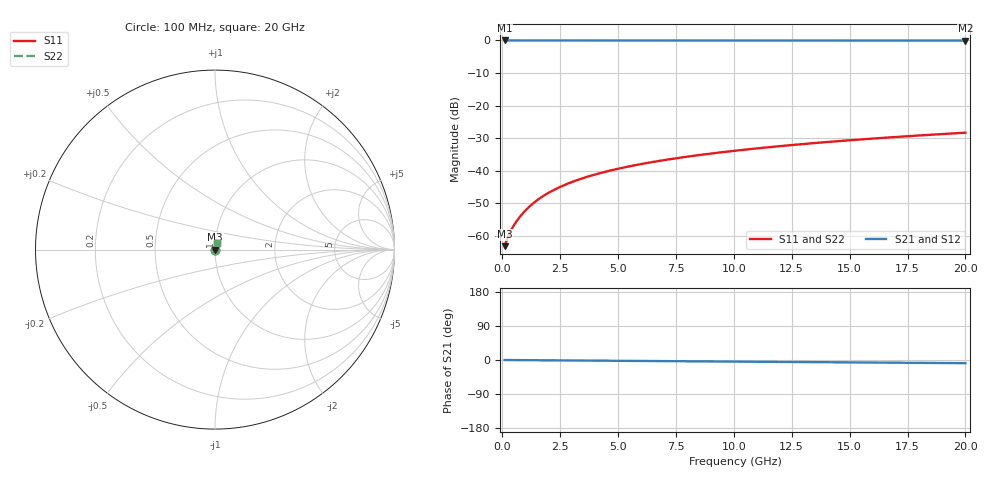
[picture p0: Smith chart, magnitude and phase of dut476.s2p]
! Touchstone file exported from HFSS 2026.1.0
!  File:  C:/ffzhzh/LocalFiles/Ansys_Project_Files/temp_train_BSMRDL_476_1783013753_53980.aedt
!  Generated:  01:37:09 AM Jul  3, 2026
!  Design:  BSMRDL
!  Project:  temp_train_BSMRDL_476_1783013753_53980
! Variables:
!  h_bsmrdl = 5.12um
!  h_ox = 20um
!  h_rdl = 5um
!  h_sub = 80um
!  h_tmrdl = 5um
!  h_tsv = 80um
!  h_via = 3um
!  l_bsmrdl = 130.21um
!  l_sub = 530.21um
!  l_tmrdl = 200um
!  m_sub = 200um
!  pitch = 27.78um
!  r_tsv = 6um
!  s_tmrdl = 10um
!  w_bsmrdl = 18.98um
!  w_sub = 500um
!  w_tmrdl = 12um
!  x_tsv_center1 = 206um
!  x_tsv_center2 = 355.19um
!  x_tsv_center3 = 567.19um
!  x_tsv_center4 = 716.38um
!  x_tsv_center5 = 928.38um
!  x_tsv_center6 = 1077.57um
# GHz S MA R 50.000000
! Terminal data exported
! Port[1] = BSM_RDL1_1_T1
! Port[2] = BSM_RDL1_1_T2
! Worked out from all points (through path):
!   200 points, 100 MHz to 20 GHz, reference 50 ohm
!   highest |S21| = -0.01 dB at 100 MHz (marker M1); lowest = 0.0 dB at 20 GHz (marker M2)
!   group delay of S21, straight-line fit = 1.16 ps
!   lowest |S11| = -63.1 dB at 100 MHz (marker M3), VSWR 1.00, Z = 50.1 + j0.0301 ohm
!   |S11| at or under -10 dB: start of sweep to end of sweep
!   |S22| runs from -63.1 to -28.3 dB; largest |S21 - S12| = 2.2e-15
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0.1  0.0006976 25.5  0.9994 -0.0  0.9994 -0.0  0.0006976 25.5
! Gamma 0 0 0 0
! Port Impedance 50 0 50 0
0.2  0.000885 39.2  0.9993 -0.1  0.9993 -0.1  0.000885 39.2
0.3  0.001076 47.0  0.9993 -0.1  0.9993 -0.1  0.001076 47.0
0.4  0.001264 52.5  0.9992 -0.2  0.9992 -0.2  0.001264 52.5
0.6  0.001648 60.3  0.9992 -0.3  0.9992 -0.3  0.001648 60.3
0.7  0.001846 63.2  0.9992 -0.3  0.9992 -0.3  0.001846 63.2
0.9  0.002255 67.4  0.9991 -0.4  0.9991 -0.4  0.002255 67.4
1.1  0.002673 70.3  0.9991 -0.5  0.9991 -0.5  0.002673 70.3
1.3  0.003098 72.4  0.9991 -0.6  0.9991 -0.6  0.003098 72.4
1.7  0.003955 75.0  0.999 -0.7  0.999 -0.7  0.003955 75.0
2.2  0.005025 76.7  0.9989 -1.0  0.9989 -1.0  0.005025 76.7
2.8  0.006295 77.8  0.9988 -1.2  0.9988 -1.2  0.006295 77.8
3.5  0.007747 78.3  0.9986 -1.5  0.9986 -1.5  0.007747 78.3
4.2  0.009167 78.6  0.9984 -1.8  0.9984 -1.8  0.009167 78.6
5  0.01076 78.7  0.9982 -2.1  0.9982 -2.1  0.01076 78.7
5.9  0.01251 78.7  0.998 -2.5  0.998 -2.5  0.01251 78.7
6.8  0.01423 78.6  0.9978 -2.9  0.9978 -2.9  0.01423 78.6
8.3  0.01706 78.5  0.9975 -3.5  0.9975 -3.5  0.01706 78.5
10.1  0.02041 78.3  0.9971 -4.3  0.9971 -4.3  0.02041 78.3
13.4  0.02649 77.7  0.9966 -5.6  0.9966 -5.6  0.02649 77.7
16.7  0.03249 76.9  0.996 -7.0  0.996 -7.0  0.03249 76.9
20  0.03843 76.0  0.9954 -8.4  0.9954 -8.4  0.03843 75.9
